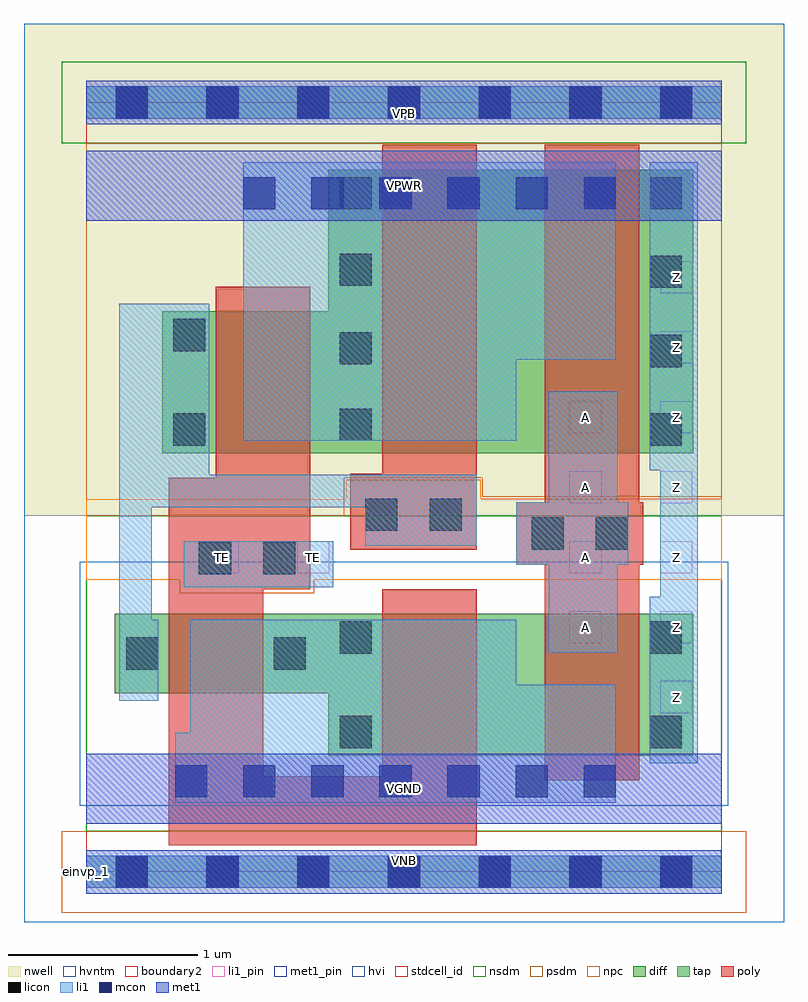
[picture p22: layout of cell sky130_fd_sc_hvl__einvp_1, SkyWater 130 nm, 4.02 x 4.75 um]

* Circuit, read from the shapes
.subckt sky130_fd_sc_hvl__einvp_1 A TE VGND VNB VPB VPWR Z
XM1 VGND TE n1 VNB sky130_fd_pr__nfet_g5v0d10v5 w=0.42 l=0.5
XM2 n2 TE VGND VNB sky130_fd_pr__nfet_g5v0d10v5 w=0.75 l=0.5
XM3 Z A n2 VNB sky130_fd_pr__nfet_g5v0d10v5 w=0.75 l=0.5
XM4 VPWR TE n1 VPB sky130_fd_pr__pfet_g5v0d10v5 w=0.75 l=0.5
XM5 n3 n1 VPWR VPB sky130_fd_pr__pfet_g5v0d10v5 w=1.5 l=0.5
XM6 Z A n3 VPB sky130_fd_pr__pfet_g5v0d10v5 w=1.5 l=0.5
.ends

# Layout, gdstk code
import gdstk
lib = gdstk.Library(unit=1e-6, precision=1e-09)
def R(c, l, rs):  # rectangles x0, y0, x1, y1
    for r in rs: c.add(gdstk.rectangle(r[:2], r[2:], *l))
def A(c, l, x, y, w, h, nx, ny, dx, dy):  # array of equal rectangles
    R(c, l, [(x+i*dx, y+j*dy, x+i*dx+w, y+j*dy+h) for i in range(nx) for j in range(ny)])
def P(c, l, *ps):  # polygons
    for p in ps: c.add(gdstk.Polygon(p, *l))
nwell = (64, 20)
diff = (65, 20)
tap = (65, 44)
poly = (66, 20)
licon = (66, 44)
li1_pin = (67, 16)
li1 = (67, 20)
mcon = (67, 44)
met1_pin = (68, 16)
met1 = (68, 20)
hvi = (75, 20)
stdcell_id = (81, 4)
nsdm = (93, 44)
psdm = (94, 20)
npc = (95, 20)
hvntm = (125, 20)
boundary2 = (236, 0)

sky130_fd_sc_hvl__einvp_ = lib.new_cell('sky130_fd_sc_hvl__einvp_1')
R(sky130_fd_sc_hvl__einvp_, nwell, [(-0.33,1.885,3.69,4.485)])
P(sky130_fd_sc_hvl__einvp_, diff, [(3.21,3.715),(1.28,3.715),(1.28,2.965),(0.4,2.965),(0.4,2.215),(3.21,2.215)],
  [(3.21,1.365),(0.15,1.365),(0.15,0.945),(1.28,0.945),(1.28,0.615),(3.21,0.615)])
R(sky130_fd_sc_hvl__einvp_, tap, [(0,-0.085,3.36,0.085), (0,3.985,3.36,4.155)])
P(sky130_fd_sc_hvl__einvp_, poly, [(2.065,3.845),(1.565,3.845),(1.565,2.105),(1.395,2.105),(1.395,1.705),(2.065,1.705)],
  [(2.065,1.495),(1.565,1.495),(1.565,0.505),(0.935,0.505),(0.935,1.495),(1.185,1.495),(1.185,3.095),(0.685,3.095),(0.685,2.085),(0.435,2.085),(0.435,0.14),(2.065,0.14)],
  [(2.945,1.955),(2.925,1.955),(2.925,3.845),(2.425,3.845),(2.425,1.955),(2.275,1.955),(2.275,1.625),(2.425,1.625),(2.425,0.485),(2.925,0.485),(2.925,1.625),(2.945,1.625)])
A(sky130_fd_sc_hvl__einvp_, licon, 0.155, -0.085, 0.17, 0.17, 7, 2, 0.48, 4.07)
R(sky130_fd_sc_hvl__einvp_, licon, [(1.34,0.655,1.51,0.825), (2.98,0.655,3.15,0.825), (0.21,1.07,0.38,1.24), (0.99,1.07,1.16,1.24), (1.34,1.155,1.51,1.325), (2.98,1.155,3.15,1.325), (0.595,1.575,0.765,1.745), (0.935,1.575,1.105,1.745), (2.355,1.705,2.525,1.875), (2.695,1.705,2.865,1.875), (1.475,1.805,1.645,1.975), (1.815,1.805,1.985,1.975), (0.46,2.255,0.63,2.425), (2.98,2.255,3.15,2.425), (1.34,2.28,1.51,2.45), (2.98,2.67,3.15,2.84), (1.34,2.685,1.51,2.855), (0.46,2.755,0.63,2.925), (2.98,3.09,3.15,3.26), (1.34,3.1,1.51,3.27), (1.34,3.505,1.51,3.675), (2.98,3.505,3.15,3.675)])
A(sky130_fd_sc_hvl__einvp_, li1_pin, 3.035, 0.84, 0.17, 0.17, 1, 7, 0, 0.37)
A(sky130_fd_sc_hvl__einvp_, li1_pin, 2.555, 1.21, 0.17, 0.17, 1, 4, 0, 0.37)
R(sky130_fd_sc_hvl__einvp_, li1_pin, [(0.635,1.58,0.805,1.75), (1.115,1.58,1.285,1.75)])
R(sky130_fd_sc_hvl__einvp_, li1, [(0,-0.085,3.36,0.085), (0.515,1.505,1.305,1.75), (0,3.985,3.36,4.155)])
P(sky130_fd_sc_hvl__einvp_, li1, [(2.865,1.955),(2.81,1.955),(2.81,2.54),(2.445,2.54),(2.445,1.955),(2.275,1.955),(2.275,1.625),(2.445,1.625),(2.445,1.16),(2.81,1.16),(2.81,1.625),(2.865,1.625)],
  [(2.8,3.755),(0.83,3.755),(0.83,2.28),(2.275,2.28),(2.275,2.71),(2.8,2.71)],
  [(2.8,0.99),(2.275,0.99),(2.275,1.335),(0.55,1.335),(0.55,0.735),(0.47,0.735),(0.47,0.365),(2.8,0.365)],
  [(3.235,3.755),(2.98,3.755),(2.98,2.125),(3.035,2.125),(3.035,1.455),(2.98,1.455),(2.98,0.575),(3.235,0.575)],
  [(2.065,2.1),(0.65,2.1),(0.65,3.005),(0.175,3.005),(0.175,0.905),(0.38,0.905),(0.38,1.335),(0.345,1.335),(0.345,1.93),(1.475,1.93),(1.475,1.725),(2.065,1.725)])
A(sky130_fd_sc_hvl__einvp_, mcon, 0.47, 0.395, 0.17, 0.17, 7, 1, 0.36, 0)
A(sky130_fd_sc_hvl__einvp_, mcon, 0.83, 3.505, 0.17, 0.17, 6, 1, 0.36, 0)
R(sky130_fd_sc_hvl__einvp_, mcon, [(0.155,-0.085,0.325,0.085), (0.155,-0.085,0.325,0.085), (0.635,-0.085,0.805,0.085), (0.635,-0.085,0.805,0.085), (1.115,-0.085,1.285,0.085), (1.115,-0.085,1.285,0.085), (1.595,-0.085,1.765,0.085), (1.595,-0.085,1.765,0.085), (2.075,-0.085,2.245,0.085), (2.075,-0.085,2.245,0.085), (2.555,-0.085,2.725,0.085), (2.555,-0.085,2.725,0.085), (3.035,-0.085,3.205,0.085), (3.035,-0.085,3.205,0.085), (0.155,3.985,0.325,4.155), (0.155,3.985,0.325,4.155), (0.635,3.985,0.805,4.155), (0.635,3.985,0.805,4.155), (1.115,3.985,1.285,4.155), (1.115,3.985,1.285,4.155), (1.595,3.985,1.765,4.155), (1.595,3.985,1.765,4.155), (2.075,3.985,2.245,4.155), (2.075,3.985,2.245,4.155), (2.555,3.985,2.725,4.155), (2.555,3.985,2.725,4.155), (3.035,3.985,3.205,4.155), (3.035,3.985,3.205,4.155)])
R(sky130_fd_sc_hvl__einvp_, met1_pin, [(0,0,3.36,0.115), (0,0.255,3.36,0.625), (0,3.445,3.36,3.815), (0,3.955,3.36,4.07)])
R(sky130_fd_sc_hvl__einvp_, met1, [(0,-0.115,3.36,0.115), (0,0.255,3.36,0.625), (0,3.445,3.36,3.815), (0,3.955,3.36,4.185)])
R(sky130_fd_sc_hvl__einvp_, hvi, [(-0.33,-0.265,3.69,4.485)])
R(sky130_fd_sc_hvl__einvp_, stdcell_id, [(0,0,3.36,4.07)])
R(sky130_fd_sc_hvl__einvp_, nsdm, [(0,0.215,3.36,1.885), (-0.13,3.855,3.49,4.285), (0,3.855,3.36,4.07)])
R(sky130_fd_sc_hvl__einvp_, psdm, [(-0.13,-0.215,3.49,0.215)])
P(sky130_fd_sc_hvl__einvp_, psdm, [(3.36,3.855),(0,3.855),(0,1.885),(1.365,1.885),(1.365,2.085),(2.095,2.085),(2.095,1.985),(3.36,1.985)])
P(sky130_fd_sc_hvl__einvp_, npc, [(3.36,1.975),(2.085,1.975),(2.085,2.075),(1.375,2.075),(1.375,1.97),(0,1.97),(0,1.545),(0.495,1.545),(0.495,1.475),(1.205,1.475),(1.205,1.545),(3.36,1.545)])
R(sky130_fd_sc_hvl__einvp_, hvntm, [(-0.035,0.35,3.395,1.64)])
R(sky130_fd_sc_hvl__einvp_, boundary2, [(0,0,3.36,4.07)])
sky130_fd_sc_hvl__einvp_.add(gdstk.Label('einvp_1', (0,0), layer=83, texttype=44))
sky130_fd_sc_hvl__einvp_.add(gdstk.Label('VGND', (1.68,0.44), layer=68, texttype=5))
sky130_fd_sc_hvl__einvp_.add(gdstk.Label('VNB', (1.68,0.058), layer=68, texttype=5))
sky130_fd_sc_hvl__einvp_.add(gdstk.Label('VPWR', (1.68,3.63), layer=68, texttype=5))
sky130_fd_sc_hvl__einvp_.add(gdstk.Label('VPB', (1.68,4.013), layer=68, texttype=5))
sky130_fd_sc_hvl__einvp_.add(gdstk.Label('A', (2.64,2.035), layer=67, texttype=5))
sky130_fd_sc_hvl__einvp_.add(gdstk.Label('A', (2.64,1.665), layer=67, texttype=5))
sky130_fd_sc_hvl__einvp_.add(gdstk.Label('TE', (0.72,1.665), layer=67, texttype=5))
sky130_fd_sc_hvl__einvp_.add(gdstk.Label('TE', (1.2,1.665), layer=67, texttype=5))
sky130_fd_sc_hvl__einvp_.add(gdstk.Label('Z', (3.12,0.925), layer=67, texttype=5))
sky130_fd_sc_hvl__einvp_.add(gdstk.Label('Z', (3.12,1.295), layer=67, texttype=5))
sky130_fd_sc_hvl__einvp_.add(gdstk.Label('Z', (3.12,1.665), layer=67, texttype=5))
sky130_fd_sc_hvl__einvp_.add(gdstk.Label('Z', (3.12,2.035), layer=67, texttype=5))
sky130_fd_sc_hvl__einvp_.add(gdstk.Label('Z', (3.12,2.405), layer=67, texttype=5))
sky130_fd_sc_hvl__einvp_.add(gdstk.Label('Z', (3.12,2.775), layer=67, texttype=5))
sky130_fd_sc_hvl__einvp_.add(gdstk.Label('Z', (3.12,3.145), layer=67, texttype=5))
sky130_fd_sc_hvl__einvp_.add(gdstk.Label('A', (2.64,1.295), layer=67, texttype=5))
sky130_fd_sc_hvl__einvp_.add(gdstk.Label('A', (2.64,2.405), layer=67, texttype=5))

lib.write_gds('sky130_fd_sc_hvl__einvp_1.gds')
